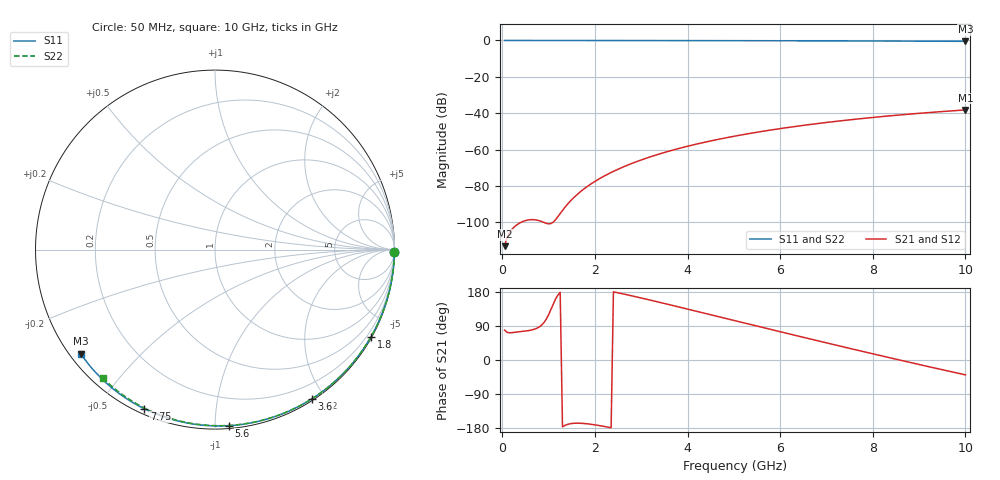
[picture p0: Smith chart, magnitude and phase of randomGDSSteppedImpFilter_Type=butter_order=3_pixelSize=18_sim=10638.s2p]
! freq	dB(S11)	phase(S11)	dB(S12)	phase(S12)
!  dB(S21)	phase(S21)	dB(S22)	phase(S22)
!S-par simulation data
#  GHz  S  DB  R 50
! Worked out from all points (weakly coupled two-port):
!   200 points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, 50 MHz to 10 GHz, reference 50 ohm
!   highest |S21| = -38.18 dB at 10 GHz (marker M1); lowest = -113.0 dB at 50 MHz (marker M2)
!   lowest |S11| = -0.5 dB at 10 GHz (marker M3), VSWR 36.34, Z = 1.54 - j17.1 ohm
!   |S11| at or under -10 dB: nowhere
!   |S22| runs from -0.4 to 0.0 dB; largest |S21 - S12| = 0
!   S11 on the Smith chart (normalised r, x): 50 MHz: open; 1.8 GHz: 0.03, -3.85; 3.6 GHz: 0.02, -1.85; 5.6 GHz: 0.02, -1.08; 7.75 GHz: 0.02, -0.65; 10 GHz: 0.03, -0.34
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0.05  -0.00 -0.8  -113.04 78.8  -113.04 78.8  -0.00 -0.8
0.45  -0.01 -7.4  -99.42 75.7  -99.42 75.7  -0.01 -6.8
0.9  -0.02 -14.7  -100.00 98.8  -100.00 98.8  -0.02 -13.6
1.75  -0.04 -28.4  -81.84 -167.4  -81.84 -167.4  -0.03 -26.2
1.8  -0.04 -29.1  -80.88 -167.9  -80.88 -167.9  -0.03 -26.9
1.85  -0.04 -29.9  -79.97 -168.6  -79.97 -168.6  -0.04 -27.6
2  -0.04 -32.3  -77.46 -171.1  -77.46 -171.1  -0.04 -29.8
2.15  -0.04 -34.7  -75.22 -174.2  -75.22 -174.2  -0.04 -32.0
2.35  -0.05 -37.8  -72.56 -178.9  -72.56 -178.9  -0.04 -34.9
2.55  -0.05 -40.9  -70.18 176.0  -70.18 176.0  -0.05 -37.8
2.95  -0.06 -47.1  -66.12 165.1  -66.12 165.1  -0.06 -43.5
3.4  -0.07 -53.9  -62.31 152.1  -62.31 152.1  -0.07 -49.8
3.6  -0.08 -56.9  -60.82 146.2  -60.82 146.2  -0.07 -52.6
4.3  -0.09 -67.2  -56.32 125.4  -56.32 125.4  -0.09 -62.2
5.05  -0.12 -77.9  -52.43 102.9  -52.43 102.9  -0.11 -72.1
5.6  -0.14 -85.5  -50.01 86.5  -50.01 86.5  -0.13 -79.2
6.15  -0.16 -93.0  -47.89 70.2  -47.89 70.2  -0.15 -86.2
6.7  -0.19 -100.3  -46.00 54.0  -46.00 54.0  -0.18 -92.9
7.75  -0.26 -113.9  -42.94 23.5  -42.94 23.5  -0.24 -105.5
8.35  -0.31 -121.5  -41.46 6.4  -41.46 6.4  -0.29 -112.5
9.2  -0.39 -132.2  -39.64 -17.4  -39.64 -17.4  -0.36 -122.2
10  -0.48 -142.3  -38.18 -39.2  -38.18 -39.2  -0.45 -131.3
